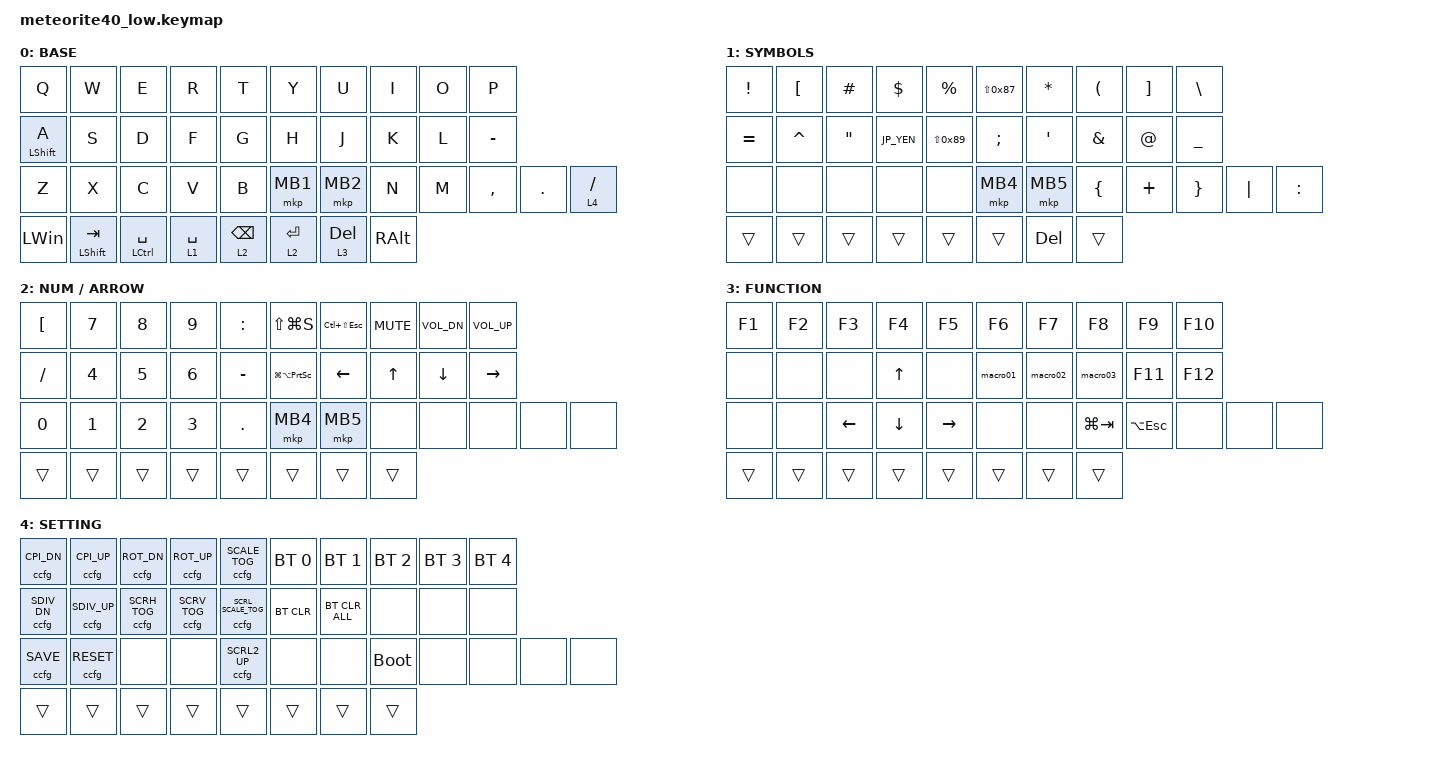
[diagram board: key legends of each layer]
#include <behaviors/custom_config.dtsi>
#include <behaviors/meteorite_custom_key.dtsi>
#include <behaviors/meteorite_bt_os.dtsi>
#include <behaviors/meteorite_mod_key.dtsi>
#include <behaviors/meteorite_os_key.dtsi>
#include <dt-bindings/zmk/custom_config.h>
#include <dt-bindings/zmk/meteorite_custom_keys.h>
#include <dt-bindings/zmk/meteorite_bt_os.h>
#include <behaviors.dtsi>
#include <dt-bindings/zmk/bt.h>
#include <dt-bindings/zmk/keys.h>
#include <dt-bindings/zmk/pointing.h>

// OS設定を日本語キーボードのまま使用するための変換定義

#define JP_DQUOTE       AT                // "
#define JP_AMPERSAND    CARET             // &
#define JP_QUOTE        AMPERSAND         // '
#define JP_EQUAL        UNDER             // =
#define JP_CARET        EQUAL             // ^
#define JP_YEN          0x89              // ¥
#define JP_PLUS         COLON             // +
#define JP_TILDE        PLUS              // ~
#define JP_PIPE         LS(0x89)          // |
#define JP_AT           LEFT_BRACKET      // @
#define JP_COLON        SINGLE_QUOTE      // :
#define JP_ASTERISK     DOUBLE_QUOTES     // *
#define JP_BACKQUOTE    LEFT_BRACE        // `
#define JP_UNDERSCORE   LS(0x87)          // _
#define JP_LBRACKET     RIGHT_BRACKET     // [
#define JP_RBRACKET     BACKSLASH         // ]
#define JP_LPAREN       ASTERISK          // (
#define JP_RPAREN       LEFT_PARENTHESIS  // )
#define JP_LBRACE       RIGHT_BRACE       // {
#define JP_RBRACE       PIPE              // }
#define JP_KANA         LANGUAGE_1        // かな
#define JP_EISU         LANGUAGE_2        // 英数
#define JP_HANZEN       GRAVE             // 半角/全角

&mt {
    flavor = "tap-preferred"; // change hold to tap
    tapping-term-ms = <200>;
    quick-tap-ms = <150>; // change 200 to 150
};

&lt {
    flavor = "tap-preferred";
    tapping-term-ms = <150>; // change 200 to 150
    quick-tap-ms = <150>; // change 200 to 150
};

/ {
    behaviors {
        mck_mt: mck_mt {
            compatible = "zmk,behavior-hold-tap";
            #binding-cells = <2>;
            flavor = "tap-preferred";
            tapping-term-ms = <150>;
            bindings = <&mck>, <&kp>;

            display-name = "meteorite OS-Switch-mod-tap";
        };

        mck_mt_st: mck_mt_st {
            compatible = "zmk,behavior-hold-tap";
            #binding-cells = <2>;
            flavor = "tap-preferred";
            tapping-term-ms = <150>;
            bindings = <&mck>, <&alt_cmd_tab>;

            display-name = "meteorite OS-Switch-mod-tap (smart toggle)";
        };

        alt_cmd_tab: alt_cmd_tab {
            compatible = "zmk,behavior-smart-toggle";
            #binding-cells = <0>;
            display-name = "meteorite Smart toggle (Alt/Cmd+Tab)";
            bindings = <&mck M_OS_ALT_CMD>, <&kp TAB>;

            position-bindings = <12 13>; /* D, F */
            position-binding-behaviors = <&kp LS(TAB)>, <&kp TAB>;
        };
    };

    combos {
        compatible = "zmk,combos";

        lang1 {
            bindings = <&kp LANG1>;
            key-positions = <12 13>; /* D + F */
            layers = <0>;
        };

        lang2 {
            bindings = <&kp LANG2>;
            key-positions = <16 17>; /* J + K */
            layers = <0>;
        };

        esc {
            bindings = <&kp ESCAPE>;
            key-positions = <20 21>; /* Z + X */
            layers = <0>;
        };

        tab {
            bindings = <&kp TAB>;
            key-positions = <0 1>; /* Q + W */
            layers = <0>;
        };

        line_home {
            bindings = <&mosk HOME LG(LEFT)>;
            key-positions = <16 17>; /* J + K (on layer 2) */
            layers = <2>;
        };

        line_end {
            bindings = <&mosk END LG(RIGHT)>;
            key-positions = <18 19>; /* L + - (on layer 2) */
            layers = <2>;
        };

        doc_home {
            bindings = <&mosk LC(HOME) LG(UP)>;
            key-positions = <16 18>; /* J + L (on layer 2) */
            layers = <2>;
        };

        doc_end {
            bindings = <&mosk LC(END) LG(DOWN)>;
            key-positions = <17 19>; /* K + - (on layer 2) */
            layers = <2>;
        };
    };

    macros {
        macro01: macro01 {
            compatible = "zmk,behavior-macro";
            #binding-cells = <0>;
            bindings = <&kp I &kp N &kp O &kp U &kp E &kp S &kp N1 &kp N5 &kp N3 &kp TAB>;
            label = "MACRO01";
        };

        macro02: macro02 {
            compatible = "zmk,behavior-macro";
            #binding-cells = <0>;
            bindings = <&kp LS(B) &kp N4 &kp A &kp N7 &kp N2 &kp C &kp F &kp N2 &kp F &kp N5>;
            label = "MACRO02";
        };

        macro03: macro03 {
            compatible = "zmk,behavior-macro";
            #binding-cells = <0>;
            bindings = <&none &kp D &kp E &kp V &kp N6 &kp N5 &kp N1 &kp N8 &kp N9 &kp N2 &kp N7 &kp S &kp R &kp TAB>;
            label = "MACRO03";
        };
    };

    keymap {
        compatible = "zmk,keymap";
        layout = &LOW_PROFILE_DEFAULT;

        win_default_layer {
            display-name = "BASE";
            bindings = <
&kp Q         &kp W          &kp E            &kp R        &kp T       &kp Y        &kp U      &kp I     &kp O  &kp P
&mt LSHIFT A  &kp S          &kp D            &kp F        &kp G       &kp H        &kp J      &kp K     &kp L  &kp MINUS
&kp Z         &kp X          &kp C            &kp V        &kp B       &mkp MB1     &mkp MB2   &kp N     &kp M  &kp COMMA  &kp DOT  &lt 4 SLASH
&kp LWIN      &mt LSHFT TAB  &mt LCTRL SPACE  &lt 1 SPACE  &lt 2 BSPC  &lt 2 ENTER  &lt 3 DEL  &kp RALT
            >;
        };

        layer_1 {
            display-name = "SYMBOLS";
            bindings = <
&kp EXCL      &kp JP_AT         &kp HASH         &kp DLLR    &kp PRCNT    &kp JP_UNDERSCORE  &kp JP_LPAREN  &kp JP_RPAREN     &kp JP_LBRACKET  &kp JP_RBRACKET
&kp JP_CARET  &kp JP_AMPERSAND  &kp JP_ASTERISK  &kp JP_YEN  &kp JP_PIPE  &kp SEMI           &kp JP_COLON   &kp JP_QUOTE      &kp JP_DQUOTE    &kp JP_EQUAL
&none         &none             &none            &none       &none        &mkp MB4           &mkp MB5       &kp JP_BACKQUOTE  &kp JP_TILDE     &kp JP_LBRACE    &kp JP_RBRACE  &kp JP_PLUS
&trans        &trans            &trans           &trans      &trans       &trans             &kp DEL        &trans
            >;
        };

        layer_2 {
            display-name = "NUM / ARROW";
            bindings = <
&kp JP_AT  &kp N7  &kp N8  &kp N9  &kp JP_PLUS  &kp LS(LG(S))            &kp LC(LS(ESC))  &kp K_MUTE  &kp C_VOL_DN  &kp C_VOL_UP
&kp SLASH  &kp N4  &kp N5  &kp N6  &kp MINUS    &kp LG(LA(PRINTSCREEN))  &kp LEFT         &kp UP      &kp DOWN      &kp RIGHT
&kp N0     &kp N1  &kp N2  &kp N3  &kp DOT      &mkp MB4                 &mkp MB5         &none       &none         &none         &none  &none
&trans     &trans  &trans  &trans  &trans       &trans                   &trans           &trans
            >;
        };

        layer_3 {
            display-name = "FUNCTION";
            bindings = <
&kp F1  &kp F2  &kp F3    &kp F4    &kp F5     &kp F6    &kp F7    &kp F8       &kp F9       &kp F10
&none   &none   &none     &kp UP    &none      &macro01  &macro02  &macro03     &kp F11      &kp F12
&none   &none   &kp LEFT  &kp DOWN  &kp RIGHT  &none     &none     &kp LG(TAB)  &kp LA(ESC)  &none    &none  &none
&trans  &trans  &trans    &trans    &trans     &trans    &trans    &trans
            >;
        };

        layer_4 {
            display-name = "SETTING";
            bindings = <
&ccfg C_CPI_DN   &ccfg C_CPI_UP   &ccfg C_ROT_DN    &ccfg C_ROT_UP    &ccfg C_SCALE_TOG       &bt BT_SEL 0  &bt BT_SEL 1    &bt BT_SEL 2  &bt BT_SEL 3  &bt BT_SEL 4
&ccfg C_SDIV_DN  &ccfg C_SDIV_UP  &ccfg C_SCRH_TOG  &ccfg C_SCRV_TOG  &ccfg C_SCRL_SCALE_TOG  &bt BT_CLR    &bt BT_CLR_ALL  &none         &none         &none
&ccfg C_SAVE     &ccfg C_RESET    &none             &none             &ccfg C_SCRL2_UP        &none         &none           &bootloader   &none         &none         &none  &none
&trans           &trans           &trans            &trans            &trans                  &trans        &trans          &trans
            >;
        };
    };
};
